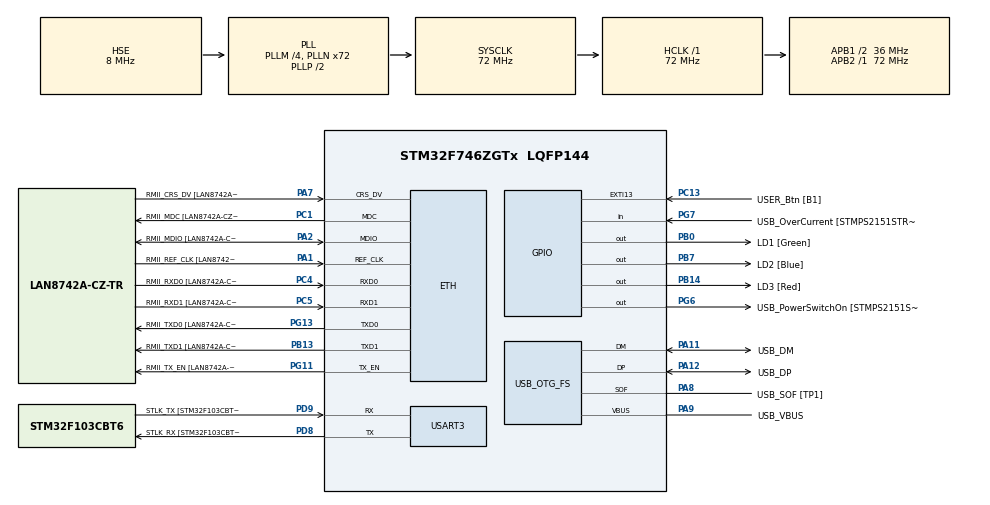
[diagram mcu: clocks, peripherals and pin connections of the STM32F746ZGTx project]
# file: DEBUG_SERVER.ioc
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ETH.MediaInterface=HAL_ETH_RMII_MODE
ETH.PHY_Name=LAN8742A_PHY_ADDRESS
ETH.PHY_Value=0
ETH.PhyAddress=0
Mcu.Family=STM32F7
Mcu.Name=STM32F746ZGTx
Mcu.Package=LQFP144
NVIC.EXTI15_10_IRQn=true\:0\:0\:true\:false\:true\:true\:true\:true
NVIC.PriorityGroup=NVIC_PRIORITYGROUP_4
NVIC.USART3_IRQn=true\:0\:0\:false\:false\:true\:true\:true\:true
PA1.GPIO_Label=RMII_REF_CLK [LAN8742A-CZ-TR_REFCLK0]
PA1.Mode=RMII
PA1.Signal=ETH_REF_CLK
PA10.GPIO_Label=USB_ID
PA10.Signal=USB_OTG_FS_ID
PA11.GPIO_Label=USB_DM
PA11.Mode=Device_Only
PA11.Signal=USB_OTG_FS_DM
PA12.GPIO_Label=USB_DP
PA12.Mode=Device_Only
PA12.Signal=USB_OTG_FS_DP
PA13.GPIO_Label=TMS
PA13.Mode=Serial_Wire
PA13.Signal=SYS_JTMS-SWDIO
PA14.GPIO_Label=TCK
PA14.Mode=Serial_Wire
PA14.Signal=SYS_JTCK-SWCLK
PA2.GPIO_Label=RMII_MDIO [LAN8742A-CZ-TR_MDIO]
PA2.Mode=RMII
PA2.Signal=ETH_MDIO
PA7.GPIO_Label=RMII_CRS_DV [LAN8742A-CZ-TR_CRS_DV]
PA7.Mode=RMII
PA7.Signal=ETH_CRS_DV
PA8.GPIO_Label=USB_SOF [TP1]
PA8.Mode=Activate_SOF_FS
PA8.Signal=USB_OTG_FS_SOF
PA9.GPIO_Label=USB_VBUS
PA9.Mode=Activate_VBUS
PA9.Signal=USB_OTG_FS_VBUS
PB0.GPIO_Label=LD1 [Green]
PB0.Signal=GPIO_Output
PB13.GPIO_Label=RMII_TXD1 [LAN8742A-CZ-TR_TXD1]
PB13.Mode=RMII
PB13.Signal=ETH_TXD1
PB14.GPIO_Label=LD3 [Red]
PB14.Signal=GPIO_Output
PB3.GPIO_Label=SW0
PB3.Signal=SYS_JTDO-SWO
PB7.GPIO_Label=LD2 [Blue]
PB7.Signal=GPIO_Output
PC1.GPIO_Label=RMII_MDC [LAN8742A-CZ-TR_MDC]
PC1.Mode=RMII
PC1.Signal=ETH_MDC
PC13.GPIO_Label=USER_Btn [B1]
PC13.Signal=GPXTI13
PC14/OSC32_IN.Mode=LSE-External-Oscillator
PC14/OSC32_IN.Signal=RCC_OSC32_IN
PC15/OSC32_OUT.Mode=LSE-External-Oscillator
PC15/OSC32_OUT.Signal=RCC_OSC32_OUT
PC4.GPIO_Label=RMII_RXD0 [LAN8742A-CZ-TR_RXD0]
PC4.Mode=RMII
PC4.Signal=ETH_RXD0
PC5.GPIO_Label=RMII_RXD1 [LAN8742A-CZ-TR_RXD1]
PC5.Mode=RMII
PC5.Signal=ETH_RXD1
PD8.GPIO_Label=STLK_RX [STM32F103CBT6_PA3]
PD8.GPIO_PuPd=GPIO_PULLUP
PD8.Mode=Asynchronous
PD8.Signal=USART3_TX
PD9.GPIO_Label=STLK_TX [STM32F103CBT6_PA2]
PD9.GPIO_PuPd=GPIO_PULLUP
PD9.Mode=Asynchronous
PD9.Signal=USART3_RX
PG11.GPIO_Label=RMII_TX_EN [LAN8742A-CZ-TR_TXEN]
PG11.Mode=RMII
PG11.Signal=ETH_TX_EN
PG13.GPIO_Label=RMII_TXD0 [LAN8742A-CZ-TR_TXD0]
PG13.Mode=RMII
PG13.Signal=ETH_TXD0
PG6.GPIO_Label=USB_PowerSwitchOn [STMPS2151STR_EN]
PG6.Signal=GPIO_Output
PG7.GPIO_Label=USB_OverCurrent [STMPS2151STR_FAULT]
PG7.Signal=GPIO_Input
PH0/OSC_IN.GPIO_Label=MCO [STM32F103CBT6_PA8]
PH0/OSC_IN.Mode=HSE-External-Clock-Source
PH0/OSC_IN.Signal=RCC_OSC_IN
PH1/OSC_OUT.Mode=HSE-External-Clock-Source
PH1/OSC_OUT.Signal=RCC_OSC_OUT
ProjectManager.HeapSize=0x200
ProjectManager.StackSize=0x400
ProjectManager.TargetToolchain=STM32CubeIDE
RCC.48MHZClocksFreq_Value=24000000
RCC.AHBFreq_Value=72000000
RCC.APB1CLKDivider=RCC_HCLK_DIV2
RCC.APB1Freq_Value=36000000
RCC.APB1TimFreq_Value=72000000
RCC.APB2Freq_Value=72000000
RCC.APB2TimFreq_Value=72000000
RCC.CortexFreq_Value=72000000
RCC.HCLKFreq_Value=72000000
RCC.HSE_VALUE=8000000
RCC.HSI_VALUE=16000000
RCC.PLLM=4
RCC.PLLMUL=RCC_PLL_MUL9
RCC.PLLN=72
RCC.PLLQ=3
RCC.PRESCALERUSB=RCC_USBCLKSOURCE_PLL_DIV1_5
RCC.SYSCLKFreq_VALUE=72000000
RCC.SYSCLKSource=RCC_SYSCLKSOURCE_PLLCLK
RCC.SYSCLKSourceVirtual=RCC_SYSCLKSOURCE_PLLCLK
RCC.USBFreq_Value=48000000
RCC.VCOOutputFreq_Value=144000000
USART3.VirtualMode-Asynchronous=VM_ASYNC
USB_OTG_FS.VirtualMode=Device_Only
board=NUCLEO-F746ZG

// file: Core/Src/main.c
/* USER CODE BEGIN Header */
/**
  ******************************************************************************
  * @file           : main.c
  * @brief          : Main program body
  ******************************************************************************
  * @attention
  *
  * Copyright (c) 2024 STMicroelectronics.
  * All rights reserved.
  *
  * This software is licensed under terms that can be found in the LICENSE file
  * in the root directory of this software component.
  * If no LICENSE file comes with this software, it is provided AS-IS.
  *
  ******************************************************************************
  */
/* USER CODE END Header */
#include "main.h"
#include "string.h"

/* USER CODE BEGIN Includes */
#include "debug.h"
#include "my_string.h"
/* USER CODE END Includes */

#if defined ( __ICCARM__ ) /*!< IAR Compiler */
#pragma location=0x2004c000
ETH_DMADescTypeDef  DMARxDscrTab[ETH_RX_DESC_CNT]; /* Ethernet Rx DMA Descriptors */
#pragma location=0x2004c0a0
ETH_DMADescTypeDef  DMATxDscrTab[ETH_TX_DESC_CNT]; /* Ethernet Tx DMA Descriptors */

#elif defined ( __CC_ARM )  /* MDK ARM Compiler */

__attribute__((at(0x2004c000))) ETH_DMADescTypeDef  DMARxDscrTab[ETH_RX_DESC_CNT]; /* Ethernet Rx DMA Descriptors */
__attribute__((at(0x2004c0a0))) ETH_DMADescTypeDef  DMATxDscrTab[ETH_TX_DESC_CNT]; /* Ethernet Tx DMA Descriptors */

#elif defined ( __GNUC__ ) /* GNU Compiler */

ETH_DMADescTypeDef DMARxDscrTab[ETH_RX_DESC_CNT] __attribute__((section(".RxDecripSection"))); /* Ethernet Rx DMA Descriptors */
ETH_DMADescTypeDef DMATxDscrTab[ETH_TX_DESC_CNT] __attribute__((section(".TxDecripSection")));   /* Ethernet Tx DMA Descriptors */
#endif

ETH_TxPacketConfig TxConfig;

ETH_HandleTypeDef heth;

UART_HandleTypeDef huart3;

PCD_HandleTypeDef hpcd_USB_OTG_FS;

/* USER CODE BEGIN PV */
char rcv;
int willHalt;

char DebugMsgBuffer[256] = {0};
char MemoryBuffer[1024] = {0};

/* USER CODE END PV */

void SystemClock_Config(void);
static void MX_GPIO_Init(void);
static void MX_ETH_Init(void);
static void MX_USART3_UART_Init(void);
static void MX_USB_OTG_FS_PCD_Init(void);
/* USER CODE BEGIN PFP */
void TestCode(void)
{
	uint32_t cnt = 0;
	char sendBuff[64];
	while(cnt < 3)
	{
		sprintf(sendBuff, "Count value is:%d \n\r", cnt);
		HAL_UART_Transmit(&huart3, sendBuff, strlen(sendBuff), HAL_MAX_DELAY);
		cnt++;
		HAL_Delay(1000);
	}

}

void TestCodeVersion2(void)
{
	uint32_t cnt = 0;
	char sendBuff[64];
	while(cnt < 3)
	{
		sprintf(sendBuff, "Count value from testcode2 func is:%d \n\r", cnt);
		HAL_UART_Transmit(&huart3, sendBuff, strlen(sendBuff), HAL_MAX_DELAY);
		cnt++;
		HAL_Delay(1000);
	}

}

void TestCodeVersion3(void)
{
	uint32_t cnt = 0xffff *0xff;
	uint32_t elapsedTime1, elapsedTime2;
	while(1)
	{
		elapsedTime1 = HAL_GetTick();
		HAL_GPIO_TogglePin(GPIOB, GPIO_PIN_7); // blue led
		HAL_Delay(1000);
		elapsedTime1 = (HAL_GetTick() - elapsedTime1) /1000;

		elapsedTime2 = HAL_GetTick();
		/* This loop will take around 2 secs.*/
		while(cnt > 0)
		{
			cnt--;
		}
		HAL_GPIO_TogglePin(GPIOB, GPIO_PIN_14); // red led

		cnt = 0xffff *0xff;

		elapsedTime2 = (HAL_GetTick() - elapsedTime2) /1000;
	}
}

void TestCodeVersion4(void)
{
	while(1)
	{
		asm volatile("MOV R0, #0");
		asm volatile("MOV R1, #1");
		asm volatile("MOV R2, #2");
		asm volatile("MOV R3, #3");
		asm volatile("MOV R4, #4");
		asm volatile("MOV R5, #5");
		asm volatile("add R6, #6");
		asm volatile("add R7, #7");

		asm volatile("MOV R0, #0xf");
		asm volatile("MOV R1, #0xf");
		asm volatile("MOV R2, #0xf");
		asm volatile("add R3, #0xf");
		asm volatile("add R4, #0xf");
		asm volatile("MOV R5, #0xf");
		asm volatile("MOV R6, #0xf");
		asm volatile("MOV R7, #0xf");

	}
}

/* USER CODE END PFP */

int main(void)
{

  /* USER CODE BEGIN 1 */
	char buffer[256] = {0};
	static volatile uint8_t willWait = 1;
  /* USER CODE END 1 */

  /* MCU Configuration--------------------------------------------------------*/

  /* Reset of all peripherals, Initializes the Flash interface and the Systick. */
  HAL_Init();

  /* Configure the system clock */
  SystemClock_Config();

  /* Initialize all configured peripherals */
  MX_GPIO_Init();
  MX_ETH_Init();
  MX_USART3_UART_Init();
  MX_USB_OTG_FS_PCD_Init();
  /* USER CODE BEGIN 2 */
  rcv = 0;
  HAL_Delay(100);

  /* You can start debugging after this line is executed */
  debug_monitor_enable();
  HAL_UART_Receive_IT(&huart3, &rcv, 1);

  /* For test purposes */
  //InsertBreakPoint(&TestCode);
  //InsertBreakPoint(&TestCodeVersion2);
  //InsertBreakPoint(&TestCodeVersion3);
  //RemoveBreakPoint(&TestCode);
  //RemoveBreakPoint(&TestCodeVersion2);

  //TestCode();
  //TestCodeVersion2();
  //InsertBreakPoint(0x20000b4a);
  TestCodeVersion3();
  //while(willWait);
  //TestCodeVersion4();

  /* USER CODE END 2 */

  /* Infinite loop */
  while (1)
  {

  }
}

void SystemClock_Config(void)
{
  RCC_OscInitTypeDef RCC_OscInitStruct = {0};
  RCC_ClkInitTypeDef RCC_ClkInitStruct = {0};

  /** Configure LSE Drive Capability
  */
  HAL_PWR_EnableBkUpAccess();

  /** Configure the main internal regulator output voltage
  */
  __HAL_RCC_PWR_CLK_ENABLE();
  __HAL_PWR_VOLTAGESCALING_CONFIG(PWR_REGULATOR_VOLTAGE_SCALE3);

  /** Initializes the RCC Oscillators according to the specified parameters
  * in the RCC_OscInitTypeDef structure.
  */
  RCC_OscInitStruct.OscillatorType = RCC_OSCILLATORTYPE_HSE;
  RCC_OscInitStruct.HSEState = RCC_HSE_BYPASS;
  RCC_OscInitStruct.PLL.PLLState = RCC_PLL_ON;
  RCC_OscInitStruct.PLL.PLLSource = RCC_PLLSOURCE_HSE;
  RCC_OscInitStruct.PLL.PLLM = 4;
  RCC_OscInitStruct.PLL.PLLN = 72;
  RCC_OscInitStruct.PLL.PLLP = RCC_PLLP_DIV2;
  RCC_OscInitStruct.PLL.PLLQ = 3;
  if (HAL_RCC_OscConfig(&RCC_OscInitStruct) != HAL_OK)
  {
    Error_Handler();
  }

  /** Initializes the CPU, AHB and APB buses clocks
  */
  RCC_ClkInitStruct.ClockType = RCC_CLOCKTYPE_HCLK|RCC_CLOCKTYPE_SYSCLK
                              |RCC_CLOCKTYPE_PCLK1|RCC_CLOCKTYPE_PCLK2;
  RCC_ClkInitStruct.SYSCLKSource = RCC_SYSCLKSOURCE_PLLCLK;
  RCC_ClkInitStruct.AHBCLKDivider = RCC_SYSCLK_DIV1;
  RCC_ClkInitStruct.APB1CLKDivider = RCC_HCLK_DIV2;
  RCC_ClkInitStruct.APB2CLKDivider = RCC_HCLK_DIV1;

  if (HAL_RCC_ClockConfig(&RCC_ClkInitStruct, FLASH_LATENCY_2) != HAL_OK)
  {
    Error_Handler();
  }
}

static void MX_ETH_Init(void)
{

   static uint8_t MACAddr[6];

  heth.Instance = ETH;
  MACAddr[0] = 0x00;
  MACAddr[1] = 0x80;
  MACAddr[2] = 0xE1;
  MACAddr[3] = 0x00;
  MACAddr[4] = 0x00;
  MACAddr[5] = 0x00;
  heth.Init.MACAddr = &MACAddr[0];
  heth.Init.MediaInterface = HAL_ETH_RMII_MODE;
  heth.Init.TxDesc = DMATxDscrTab;
  heth.Init.RxDesc = DMARxDscrTab;
  heth.Init.RxBuffLen = 1524;

  if (HAL_ETH_Init(&heth) != HAL_OK)
  {
    Error_Handler();
  }

  memset(&TxConfig, 0 , sizeof(ETH_TxPacketConfig));
  TxConfig.Attributes = ETH_TX_PACKETS_FEATURES_CSUM | ETH_TX_PACKETS_FEATURES_CRCPAD;
  TxConfig.ChecksumCtrl = ETH_CHECKSUM_IPHDR_PAYLOAD_INSERT_PHDR_CALC;
  TxConfig.CRCPadCtrl = ETH_CRC_PAD_INSERT;

}

static void MX_USART3_UART_Init(void)
{

  huart3.Instance = USART3;
  huart3.Init.BaudRate = 115200;
  huart3.Init.WordLength = UART_WORDLENGTH_8B;
  huart3.Init.StopBits = UART_STOPBITS_1;
  huart3.Init.Parity = UART_PARITY_NONE;
  huart3.Init.Mode = UART_MODE_TX_RX;
  huart3.Init.HwFlowCtl = UART_HWCONTROL_NONE;
  huart3.Init.OverSampling = UART_OVERSAMPLING_16;
  huart3.Init.OneBitSampling = UART_ONE_BIT_SAMPLE_DISABLE;
  huart3.AdvancedInit.AdvFeatureInit = UART_ADVFEATURE_NO_INIT;
  if (HAL_UART_Init(&huart3) != HAL_OK)
  {
    Error_Handler();
  }

}

static void MX_USB_OTG_FS_PCD_Init(void)
{

  hpcd_USB_OTG_FS.Instance = USB_OTG_FS;
  hpcd_USB_OTG_FS.Init.dev_endpoints = 6;
  hpcd_USB_OTG_FS.Init.speed = PCD_SPEED_FULL;
  hpcd_USB_OTG_FS.Init.dma_enable = DISABLE;
  hpcd_USB_OTG_FS.Init.phy_itface = PCD_PHY_EMBEDDED;
  hpcd_USB_OTG_FS.Init.Sof_enable = ENABLE;
  hpcd_USB_OTG_FS.Init.low_power_enable = DISABLE;
  hpcd_USB_OTG_FS.Init.lpm_enable = DISABLE;
  hpcd_USB_OTG_FS.Init.vbus_sensing_enable = ENABLE;
  hpcd_USB_OTG_FS.Init.use_dedicated_ep1 = DISABLE;
  if (HAL_PCD_Init(&hpcd_USB_OTG_FS) != HAL_OK)
  {
    Error_Handler();
  }

}

static void MX_GPIO_Init(void)
{
  GPIO_InitTypeDef GPIO_InitStruct = {0};

  /* GPIO Ports Clock Enable */
  __HAL_RCC_GPIOC_CLK_ENABLE();
  __HAL_RCC_GPIOH_CLK_ENABLE();
  __HAL_RCC_GPIOA_CLK_ENABLE();
  __HAL_RCC_GPIOB_CLK_ENABLE();
  __HAL_RCC_GPIOD_CLK_ENABLE();
  __HAL_RCC_GPIOG_CLK_ENABLE();

  /*Configure GPIO pin Output Level */
  HAL_GPIO_WritePin(GPIOB, LD1_Pin|LD3_Pin|LD2_Pin, GPIO_PIN_RESET);

  /*Configure GPIO pin Output Level */
  HAL_GPIO_WritePin(USB_PowerSwitchOn_GPIO_Port, USB_PowerSwitchOn_Pin, GPIO_PIN_RESET);

  /*Configure GPIO pin : USER_Btn_Pin */
  GPIO_InitStruct.Pin = USER_Btn_Pin;
  GPIO_InitStruct.Mode = GPIO_MODE_IT_RISING;
  GPIO_InitStruct.Pull = GPIO_NOPULL;
  HAL_GPIO_Init(USER_Btn_GPIO_Port, &GPIO_InitStruct);

  /*Configure GPIO pins : LD1_Pin LD3_Pin LD2_Pin */
  GPIO_InitStruct.Pin = LD1_Pin|LD3_Pin|LD2_Pin;
  GPIO_InitStruct.Mode = GPIO_MODE_OUTPUT_PP;
  GPIO_InitStruct.Pull = GPIO_NOPULL;
  GPIO_InitStruct.Speed = GPIO_SPEED_FREQ_LOW;
  HAL_GPIO_Init(GPIOB, &GPIO_InitStruct);

  /*Configure GPIO pin : USB_PowerSwitchOn_Pin */
  GPIO_InitStruct.Pin = USB_PowerSwitchOn_Pin;
  GPIO_InitStruct.Mode = GPIO_MODE_OUTPUT_PP;
  GPIO_InitStruct.Pull = GPIO_NOPULL;
  GPIO_InitStruct.Speed = GPIO_SPEED_FREQ_LOW;
  HAL_GPIO_Init(USB_PowerSwitchOn_GPIO_Port, &GPIO_InitStruct);

  /*Configure GPIO pin : USB_OverCurrent_Pin */
  GPIO_InitStruct.Pin = USB_OverCurrent_Pin;
  GPIO_InitStruct.Mode = GPIO_MODE_INPUT;
  GPIO_InitStruct.Pull = GPIO_NOPULL;
  HAL_GPIO_Init(USB_OverCurrent_GPIO_Port, &GPIO_InitStruct);

  /* EXTI interrupt init*/
  HAL_NVIC_SetPriority(EXTI15_10_IRQn, 0, 0);
  HAL_NVIC_EnableIRQ(EXTI15_10_IRQn);

}

/* USER CODE BEGIN 4 */

DebugStateEnum DebugState = NONE;

void UpdateDebugState(char ch);

void ProcessDebugRequest(char ch)
{
	uint32_t bpAddr;
	uint32_t memAddr;
	uint32_t size;

	UpdateDebugState(ch);

	switch(DebugState)
	{
	case HALT:
		willHalt = 1;
		break;
	case STEP:
		break;
	case CONTINUE:
		break;

	case INSERT_BREAKPOINT:
		HAL_UART_AbortReceive_IT(&huart3);
		HAL_UART_Receive(&huart3, (uint8_t *)DebugMsgBuffer, 8, HAL_MAX_DELAY);
		bpAddr = GetUnsignedIntFromASCII(DebugMsgBuffer,8);
		InsertBreakPoint(bpAddr);
		//RemoveBreakPoint(bpAddr);
		memset(DebugMsgBuffer, 0, 256);

		break;

	case REMOVE_BREAKPOINT:
		HAL_UART_AbortReceive_IT(&huart3);
		HAL_UART_Receive(&huart3, (uint8_t *)DebugMsgBuffer, 8, HAL_MAX_DELAY);
		bpAddr = GetUnsignedIntFromASCII(DebugMsgBuffer,8);
		RemoveBreakPoint(bpAddr);
		memset(DebugMsgBuffer, 0, 256);

		break;

	case READ_MEMORY:
		HAL_UART_AbortReceive_IT(&huart3);
		HAL_UART_Receive(&huart3, (uint8_t *)DebugMsgBuffer, 8, HAL_MAX_DELAY);
		memAddr = GetUnsignedIntFromASCII(DebugMsgBuffer,8);
		memset(DebugMsgBuffer, 0, 256);

		HAL_UART_Receive(&huart3, (uint8_t *)DebugMsgBuffer, 4, HAL_MAX_DELAY);
		size = GetUnsignedIntFromASCII(DebugMsgBuffer,4);
		memset(DebugMsgBuffer, 0, 256);

		/* Line 526 - 529 may be unnecessary, address can be directly pointed to
		 * transmit function instead.
		 */
		for(int i = 0; i < size; i++)
		{
			MemoryBuffer[i] = *(uint8_t *)(memAddr + i);
		}
		HAL_UART_Transmit(&huart3, (uint8_t *)MemoryBuffer, size, HAL_MAX_DELAY);

		break;

	case WRITE_MEMORY:
		HAL_UART_AbortReceive_IT(&huart3);
		HAL_UART_Receive(&huart3, (uint8_t *)DebugMsgBuffer, 8, HAL_MAX_DELAY);
		memAddr = GetUnsignedIntFromASCII(DebugMsgBuffer,8);
		memset(DebugMsgBuffer, 0, 256);

		HAL_UART_Receive(&huart3, (uint8_t *)DebugMsgBuffer, 4, HAL_MAX_DELAY);
		size = GetUnsignedIntFromASCII(DebugMsgBuffer,4);

		HAL_UART_Receive(&huart3, (uint8_t *)DebugMsgBuffer, size, HAL_MAX_DELAY);

		for(int i = 0; i < size; i++)
		{
			*(uint8_t *)(memAddr +i) = DebugMsgBuffer[i];
		}

		memset(DebugMsgBuffer, 0, 256);
		break;

	case NONE:
		break;

	}

}

void HAL_UART_RxCpltCallback(UART_HandleTypeDef *huart)
{
	uint32_t bpAddr;
	uint32_t memAddr;
	uint32_t size;
	HAL_UART_AbortReceive_IT(&huart3);
	willHalt = 0;
	ProcessDebugRequest( (char)rcv);
	HAL_UART_Receive_IT(huart, (uint8_t *)&rcv, 1);

}

void UpdateDebugState(char ch)
{
	switch(ch)
	{
	case 'h':
		DebugState = HALT;
		break;
	case 's':
		DebugState = STEP;
		break;
	case 'c':
		DebugState = CONTINUE;
		break;

	case 'Z':
		DebugState = INSERT_BREAKPOINT;
		break;
	case 'z':
		DebugState = REMOVE_BREAKPOINT;
		break;

	case 'm':
		DebugState = READ_MEMORY;
		break;
	case 'M':
		DebugState = WRITE_MEMORY;
		break;

	default:
		DebugState = NONE;
		break;
	}
}

void HAL_GPIO_EXTI_Callback(uint16_t GPIO_Pin)
{
	HAL_GPIO_TogglePin(GPIOB, GPIO_PIN_0);

}

/* USER CODE END 4 */

void Error_Handler(void)
{
  __disable_irq();
  while (1)
  {
  }
}
